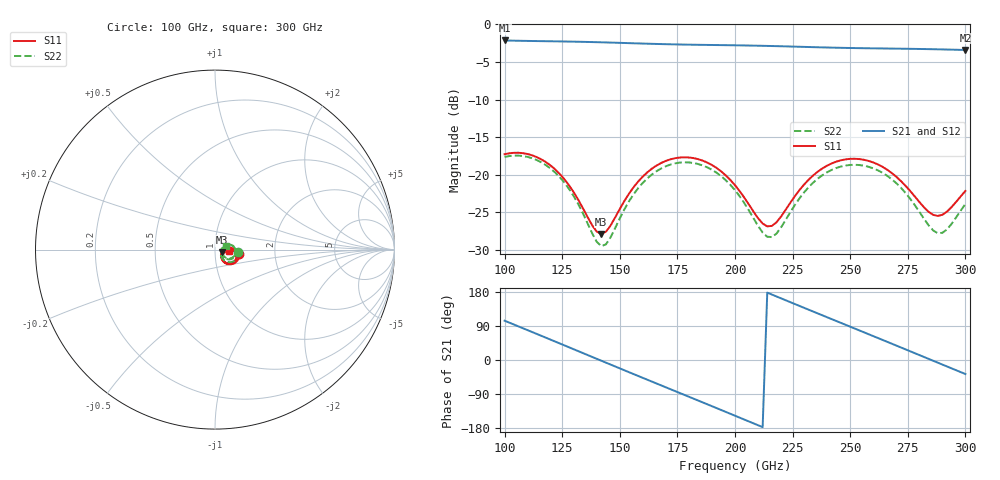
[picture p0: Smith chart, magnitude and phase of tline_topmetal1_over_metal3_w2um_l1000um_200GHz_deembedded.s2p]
! Created with skrf 2.0.1 (http://scikit-rf.org).
# GHz S DB R 50.0
!freq dBS11 angS11 dBS21 angS21 dBS12 angS12 dBS22 angS22
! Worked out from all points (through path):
!   101 points, 100 GHz to 300 GHz, reference 50 ohm
!   highest |S21| = -2.14 dB at 100 GHz (marker M1); lowest = -3.4 dB at 300 GHz (marker M2)
!   group delay of S21, straight-line fit = 6.95 ps
!   lowest |S11| = -27.9 dB at 142 GHz (marker M3), VSWR 1.08, Z = 53.8 - j1.69 ohm
!   |S11| at or under -10 dB: start of sweep to end of sweep
!   |S22| runs from -29.5 to -17.5 dB; largest |S21 - S12| = 8.9e-14
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100  -17.28 -11.1  -2.14 103.7  -2.14 103.7  -17.65 -5.3
108  -17.14 -25.5  -2.19 83.7  -2.19 83.7  -17.51 -19.4
116  -17.97 -39.4  -2.23 63.6  -2.23 63.6  -18.36 -33.2
126  -20.62 -53.1  -2.27 38.5  -2.27 38.5  -21.08 -47.3
134  -24.47 -53.4  -2.32 18.3  -2.32 18.3  -25.15 -48.9
142  -27.90 -22.9  -2.38 -2.0  -2.38 -2.0  -29.51 -16.4
146  -26.75 -2.7  -2.42 -12.1  -2.42 -12.1  -28.33 8.3
154  -22.52 9.1  -2.49 -32.2  -2.49 -32.2  -23.54 22.4
168  -18.43 -6.1  -2.62 -67.1  -2.62 -67.1  -19.16 7.2
176  -17.72 -19.3  -2.67 -87.0  -2.67 -87.0  -18.39 -5.9
184  -17.93 -32.7  -2.71 -107.0  -2.71 -107.0  -18.58 -19.2
200  -21.40 -52.8  -2.78 -147.0  -2.78 -147.0  -22.06 -40.0
212  -26.50 -37.0  -2.85 -177.2  -2.85 -177.2  -27.70 -25.2
216  -26.81 -19.5  -2.88 172.7  -2.88 172.7  -28.30 -5.6
224  -23.74 1.8  -2.94 152.7  -2.94 152.7  -24.99 19.5
234  -20.08 -1.2  -3.03 127.7  -3.03 127.7  -21.04 17.1
250  -17.89 -23.6  -3.14 87.9  -3.14 87.9  -18.70 -5.6
258  -18.16 -35.8  -3.18 68.0  -3.18 68.0  -18.95 -18.3
268  -19.77 -48.5  -3.22 43.1  -3.22 43.1  -20.59 -32.0
278  -22.88 -51.3  -3.26 18.1  -3.26 18.1  -24.03 -37.1
288  -25.49 -28.7  -3.31 -7.0  -3.31 -7.0  -27.79 -12.3
300  -22.16 -5.4  -3.40 -37.0  -3.40 -37.0  -23.90 19.3
